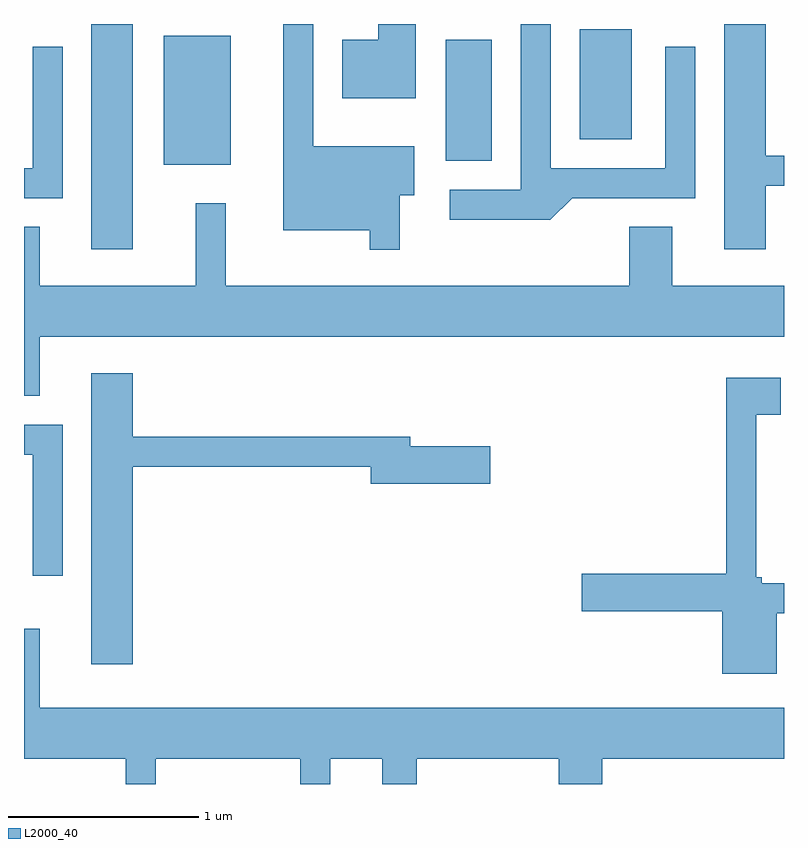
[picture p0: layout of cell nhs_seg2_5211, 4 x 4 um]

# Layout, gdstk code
import gdstk
lib = gdstk.Library(unit=1e-6, precision=1e-09)
def R(c, l, rs):  # rectangles x0, y0, x1, y1
    for r in rs: c.add(gdstk.rectangle(r[:2], r[2:], *l))
def P(c, l, *ps):  # polygons
    for p in ps: c.add(gdstk.Polygon(p, *l))
L2000_40 = (2000, 40)

nhs_seg2_5211 = lib.new_cell('nhs_seg2_5211')
R(nhs_seg2_5211, L2000_40, [(339.966,986.616,340.184,987.802), (340.346,987.061,340.699,987.739), (341.831,987.081,342.074,987.719), (342.536,987.196,342.809,987.774)])
P(nhs_seg2_5211, L2000_40, [(342.497,986.886),(343.144,986.886),(343.144,987.683),(342.986,987.683),(342.986,987.044),(342.384,987.044),(342.384,987.802),(342.226,987.802),(342.226,986.929),(341.853,986.929),(341.853,986.771),(342.382,986.771)],
  [(341.674,987.802),(341.476,987.802),(341.476,987.719),(341.286,987.719),(341.286,987.411),(341.674,987.411)],
  [(341.589,986.901),(341.664,986.901),(341.664,987.159),(341.134,987.159),(341.134,987.802),(340.976,987.802),(340.976,986.716),(341.431,986.716),(341.431,986.613),(341.589,986.613)],
  [(343.514,986.951),(343.611,986.951),(343.611,987.109),(343.514,987.109),(343.514,987.802),(343.296,987.802),(343.296,986.616),(343.514,986.616)],
  [(339.814,987.683),(339.656,987.683),(339.656,987.044),(339.611,987.044),(339.611,986.886),(339.814,986.886)],
  [(339.694,986.156),(343.611,986.156),(343.611,986.424),(343.024,986.424),(343.024,986.734),(342.796,986.734),(342.796,986.424),(340.674,986.424),(340.674,986.858),(340.516,986.858),(340.516,986.424),(339.694,986.424),(339.694,986.734),(339.611,986.734),(339.611,985.846),(339.694,985.846)],
  [(340.184,985.471),(341.436,985.471),(341.436,985.381),(342.064,985.381),(342.064,985.579),(341.644,985.579),(341.644,985.629),(340.184,985.629),(340.184,985.964),(339.966,985.964),(339.966,984.431),(340.184,984.431)],
  [(343.574,984.701),(343.611,984.701),(343.611,984.859),(343.494,984.859),(343.494,984.889),(343.464,984.889),(343.464,985.746),(343.594,985.746),(343.594,985.939),(343.306,985.939),(343.306,984.909),(342.546,984.909),(342.546,984.711),(343.286,984.711),(343.286,984.381),(343.574,984.381)],
  [(339.814,985.694),(339.611,985.694),(339.611,985.536),(339.656,985.536),(339.656,984.898),(339.814,984.898)],
  [(340.304,983.936),(341.066,983.936),(341.066,983.802),(341.224,983.802),(341.224,983.936),(341.496,983.936),(341.496,983.802),(341.679,983.802),(341.679,983.936),(342.426,983.936),(342.426,983.802),(342.654,983.802),(342.654,983.936),(343.611,983.936),(343.611,984.204),(339.694,984.204),(339.694,984.619),(339.611,984.619),(339.611,983.936),(340.146,983.936),(340.146,983.802),(340.304,983.802)])

lib.write_gds('nhs_seg2_5211.gds')
